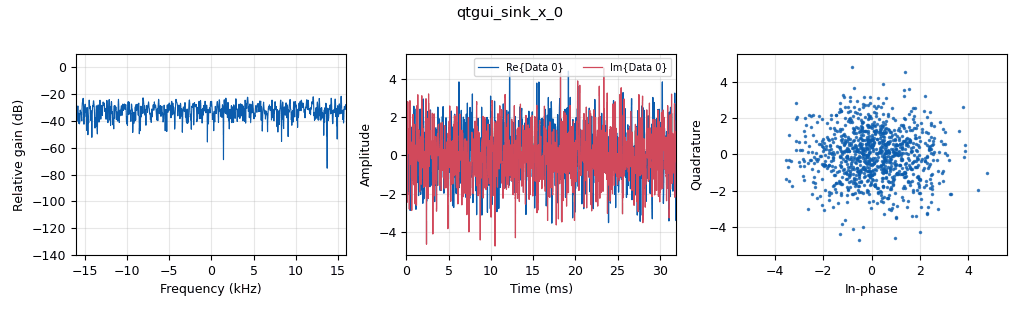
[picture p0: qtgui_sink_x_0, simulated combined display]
options:
  parameters:
    generate_options: qt_gui
    id: noise_gen
    output_language: python
    title: Noise Generation
  states: {}

blocks:
- name: samp_rate
  id: variable
  parameters:
    value: '32000'
  states: {}
- name: analog_noise_source_x_0
  id: analog_noise_source_x
  parameters:
    amp: '2'
    noise_type: analog.GR_GAUSSIAN
    seed: '0'
    type: complex
  states: {}
- name: qtgui_sink_x_0
  id: qtgui_sink_x
  parameters:
    bw: samp_rate
    fc: '0'
    fftsize: '1024'
    type: complex
  states: {}

connections:
- [analog_noise_source_x_0, '0', qtgui_sink_x_0, '0']

metadata:
  file_format: 1
  grc_version: 3.10.5.1
